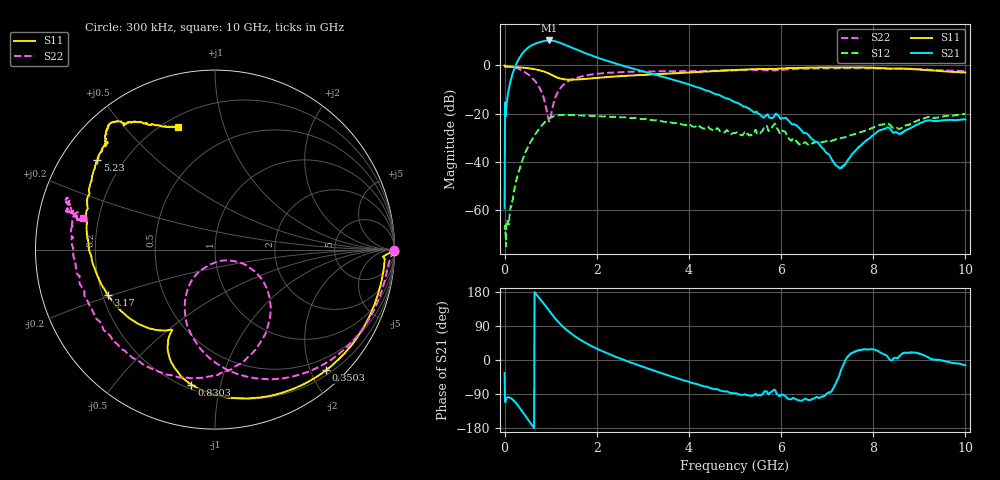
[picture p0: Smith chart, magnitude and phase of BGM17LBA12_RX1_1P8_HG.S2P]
!Agilent Technologies,E5071C,MY46316587,B.13.01
!Date: Fri Dec 08 10:53:43 2017
!Data & Calibration Information:
!Freq	S11:SOLT2(ON)	S21:SOLT2(ON)	S12:SOLT2(ON)	S22:SOLT2(ON)
!PortZ  Port1:50+j0  Port2:50+j0
!Above PortZ is port z conversion or system Z0 setting when saving the data.
!When reading, reference impedance value at option line is always used.
# Hz S dB R 50
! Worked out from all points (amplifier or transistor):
!   1001 points, 300 kHz to 10 GHz, reference 50 ohm
!   highest |S21| = 10.4 dB at 970.3 MHz (marker M1)
!   |S21| within 3 dB of that: 510.6 MHz to 1.457 GHz (946.3 MHz wide, 96.2 % of centre)
!   unconditionally stable (mu >= 1): start of sweep to end of sweep
!   at 1.66 GHz: K = 1.42, MAG = 9.4 dB, |S12| = -20.7 dB
!   at 5 GHz: K = 9.27, MAG = -6.3 dB, |S12| = -28.0 dB
!   at 10 GHz: K = 13.92, MAG = -15.6 dB, |S12| = -20.1 dB
!   lowest NFmin = 1.06 dB at 750 MHz
!   S11 on the Smith chart (normalised r, x): 300 kHz: open; 350.3 MHz: 0.28, -2.25; 830.3 MHz: 0.23, -0.81; 3.17 GHz: 0.22, -0.19; 5.23 GHz: 0.11, +0.33; 10 GHz: 0.25, +0.71
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300000  -0.04 -0.3  -59.18 -34.5  -68.11 132.4  -0.05 -0.2
6.02982e7  -0.49 -8.7  -13.54 -98.8  -64.07 121.1  -0.35 -11.3
2.102937e8  -0.60 -29.1  -1.46 -108.9  -51.83 157.8  -0.82 -37.7
3.502895e8  -0.79 -47.4  3.99 -129.8  -41.40 157.7  -1.79 -61.7
4.702859e8  -1.04 -62.1  6.71 -150.8  -35.21 148.8  -3.15 -81.0
6.102817e8  -1.43 -77.7  8.55 -174.5  -30.25 136.5  -5.44 -101.0
7.202784e8  -1.82 -89.2  9.43 168.2  -27.06 124.6  -8.06 -114.9
8.302751e8  -2.34 -99.9  10.00 151.6  -24.40 112.2  -12.34 -125.9
9.702709e8  -3.45 -111.3  10.36 129.5  -21.97 93.0  -23.33 -75.4
1.120266e9  -4.83 -117.1  9.89 106.6  -20.80 73.0  -12.46 -28.2
1.310261e9  -5.78 -118.0  8.54 83.0  -20.53 54.0  -7.49 -43.4
1.67025e9  -5.70 -120.0  5.70 51.4  -20.73 32.8  -4.53 -66.6
2.300231e9  -4.71 -132.3  1.44 13.8  -21.34 12.2  -3.00 -92.9
3.170205e9  -3.75 -157.1  -3.30 -25.1  -22.55 -8.1  -2.46 -120.6
3.3402e9  -3.58 -162.8  -4.18 -32.1  -22.92 -11.3  -2.43 -126.1
5.00015e9  -1.86 146.8  -15.18 -88.0  -27.99 -14.9  -2.06 -179.6
5.230143e9  -1.69 142.6  -17.08 -92.1  -28.34 -12.5  -1.97 175.0
5.860124e9  -1.50 135.3  -20.71 -78.3  -24.13 -15.3  -2.10 164.9
6.6701e9  -0.89 131.5  -30.52 -103.2  -32.35 7.6  -1.29 161.2
7.300081e9  -0.78 129.9  -42.32 -27.5  -30.16 30.0  -1.17 160.9
8.34005e9  -1.31 125.9  -25.83 3.4  -24.26 19.1  -1.43 163.3
1e10  -2.91 106.9  -22.40 -14.1  -20.13 2.7  -2.44 166.7
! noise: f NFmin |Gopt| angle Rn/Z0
6.5e+08  1.18  0.5022  67.04  0.3023
7e+08  1.103  0.5213  71.13  0.2529
7.5e+08  1.062  0.4911  70.9  0.231
8e+08  1.068  0.4998  75.77  0.2217
8.5e+08  1.109  0.4815  82.47  0.2049
9e+08  1.12  0.4811  82.36  0.214
9.5e+08  1.15  0.5074  85.01  0.2258
1e+09  1.165  0.4432  87.19  0.186
